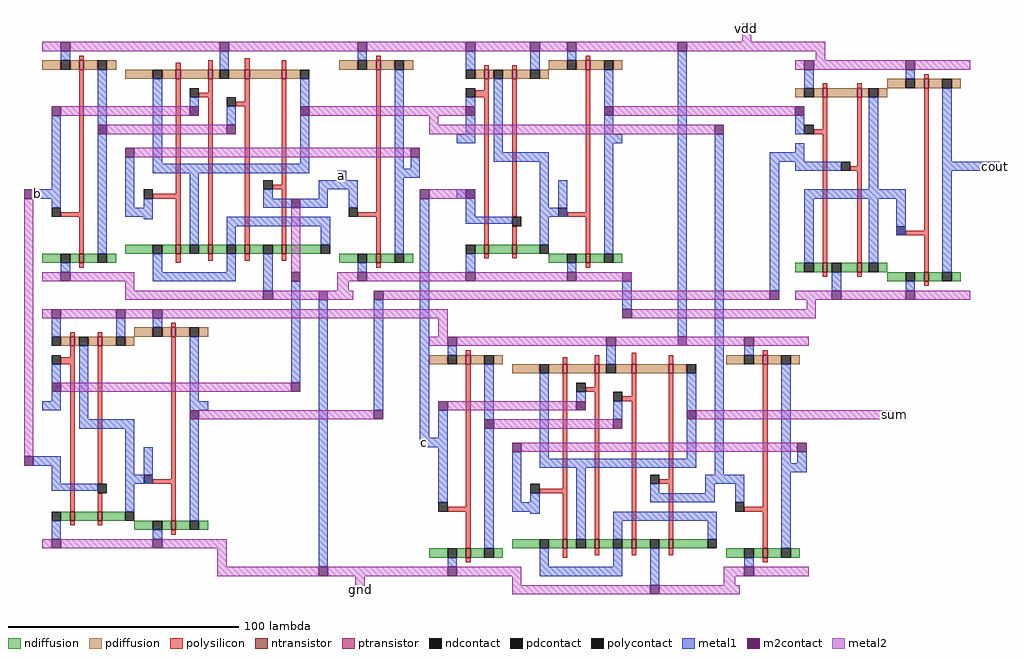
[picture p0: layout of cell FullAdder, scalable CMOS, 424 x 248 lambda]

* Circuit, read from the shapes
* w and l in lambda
.subckt FullAdder a b c cout gnd sum vdd
M1 n1 a gnd VSUBS nfet w=4 l=2
M2 EXC_0/not_0/o b gnd VSUBS nfet w=4 l=2
M3 and_0/not_0/i b n1 VSUBS nfet w=4 l=2
M4 and_0/o and_0/not_0/i gnd VSUBS nfet w=4 l=2
M5 and_1/a EXC_0/not_1/o n2 VSUBS nfet w=4 l=2
M6 n2 b and_1/a VSUBS nfet w=4 l=2
M7 gnd EXC_0/not_0/o n2 VSUBS nfet w=4 l=2
M8 n2 a gnd VSUBS nfet w=4 l=2
M9 EXC_0/not_1/o a gnd VSUBS nfet w=4 l=2
M10 EXC_1/not_0/o c gnd VSUBS nfet w=4 l=2
M11 n3 and_1/a gnd VSUBS nfet w=4 l=2
M12 and_1/not_0/i c n3 VSUBS nfet w=4 l=2
M13 sum EXC_1/not_1/o n4 VSUBS nfet w=4 l=2
M14 and_1/o and_1/not_0/i gnd VSUBS nfet w=4 l=2
M15 n4 c sum VSUBS nfet w=4 l=2
M16 gnd EXC_1/not_0/o n4 VSUBS nfet w=4 l=2
M17 n4 and_1/a gnd VSUBS nfet w=4 l=2
M18 EXC_1/not_1/o and_1/a gnd VSUBS nfet w=4 l=2
M19 gnd and_1/o or_0/not_0/i VSUBS nfet w=4 l=2
M20 or_0/not_0/i and_0/o gnd VSUBS nfet w=4 l=2
M21 cout or_0/not_0/i gnd VSUBS nfet w=4 l=2
M22 and_0/not_0/i a vdd NWELL pfet w=4 l=2
M23 EXC_0/not_0/o b vdd NWELL pfet w=4 l=2
M24 vdd b and_0/not_0/i NWELL pfet w=4 l=2
M25 and_0/o and_0/not_0/i vdd NWELL pfet w=4 l=2
M26 n5 EXC_0/not_1/o and_1/a NWELL pfet w=4 l=2
M27 vdd b n5 NWELL pfet w=4 l=2
M28 n6 EXC_0/not_0/o vdd NWELL pfet w=4 l=2
M29 and_1/a a n6 NWELL pfet w=4 l=2
M30 EXC_0/not_1/o a vdd NWELL pfet w=4 l=2
M31 EXC_1/not_0/o c vdd NWELL pfet w=4 l=2
M32 and_1/not_0/i and_1/a vdd NWELL pfet w=4 l=2
M33 vdd c and_1/not_0/i NWELL pfet w=4 l=2
M34 n7 EXC_1/not_1/o sum NWELL pfet w=4 l=2
M35 and_1/o and_1/not_0/i vdd NWELL pfet w=4 l=2
M36 vdd c n7 NWELL pfet w=4 l=2
M37 n8 EXC_1/not_0/o vdd NWELL pfet w=4 l=2
M38 sum and_1/a n8 NWELL pfet w=4 l=2
M39 EXC_1/not_1/o and_1/a vdd NWELL pfet w=4 l=2
M40 n9 and_1/o vdd NWELL pfet w=4 l=2
M41 or_0/not_0/i and_0/o n9 NWELL pfet w=4 l=2
M42 cout or_0/not_0/i vdd NWELL pfet w=4 l=2
.ends

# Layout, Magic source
magic
tech scmos
<< metal1 >>
rect 124 52 128 56
rect -8 44 0 48
rect 104 -36 108 8
rect -8 -72 0 -68
rect 116 -116 120 0
rect 140 -48 144 0
rect 160 -60 164 44
rect 248 -4 252 8
rect 272 -16 276 108
rect 160 -64 168 -60
rect 288 -76 292 72
rect 312 60 323 64
rect 312 4 316 60
rect 391 56 412 60
<< metal2 >>
rect 300 112 304 120
rect 161 108 180 112
rect 252 108 272 112
rect 276 108 336 112
rect 332 104 336 108
rect 112 80 180 84
rect 244 80 323 84
rect 164 76 168 80
rect 164 72 288 76
rect 164 44 180 48
rect -12 -68 -8 44
rect 104 12 108 40
rect 161 8 180 12
rect 144 0 312 4
rect 328 -4 332 0
rect 72 -8 172 -4
rect 252 -8 332 -4
rect 168 -16 172 -8
rect 4 -40 104 -36
rect 64 -52 140 -48
rect 280 -52 368 -48
rect 72 -116 76 -104
rect 72 -120 116 -116
rect 120 -120 168 -116
rect 132 -128 136 -120
<< m2contact >>
rect 272 108 276 112
rect 108 80 112 84
rect 180 80 184 84
rect 240 80 244 84
rect -12 44 -8 48
rect 160 44 164 48
rect 180 44 184 48
rect 104 40 108 44
rect 104 8 108 12
rect 0 -40 4 -36
rect 104 -40 108 -36
rect 116 0 120 4
rect 60 -52 64 -48
rect -12 -72 -8 -68
rect 140 0 144 4
rect 140 -52 144 -48
rect 248 8 252 12
rect 248 -8 252 -4
rect 323 80 327 84
rect 272 -20 276 -16
rect 288 72 292 76
rect 276 -52 280 -48
rect 312 0 316 4
rect 116 -120 120 -116
use EXC  EXC_0
transform 1 0 32 0 1 0
box -32 0 129 112
use EXC  EXC_1
transform 1 0 200 0 1 -128
box -32 0 129 112
use and  and_0
transform 1 0 0 0 1 -108
box 0 0 72 104
use and  and_1
transform 1 0 180 0 1 8
box 0 0 72 104
use or  or_0
transform 1 0 323 0 1 0
box 0 0 76 104
<< labels >>
rlabel metal1 410 58 410 58 7 cout
rlabel metal1 -6 46 -6 46 1 b
rlabel metal1 126 54 126 54 1 a
rlabel metal2 366 -50 366 -50 1 sum
rlabel metal2 302 118 302 118 5 vdd
rlabel metal2 134 -126 134 -126 1 gnd
rlabel metal1 162 -62 162 -62 1 c
<< end >>

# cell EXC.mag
magic
tech scmos
<< metal1 >>
rect -32 48 -28 80
rect 44 76 48 80
rect 0 40 4 62
rect 124 57 128 62
rect 121 53 128 57
rect 84 48 101 52
rect 84 44 88 48
rect 64 43 88 44
rect 60 40 88 43
rect 0 36 8 40
<< metal2 >>
rect -28 80 28 84
rect -8 72 44 76
rect 4 62 124 66
rect 0 4 4 12
rect 92 4 97 12
<< m2contact >>
rect -32 80 -28 84
rect 28 80 32 84
rect -12 72 -8 76
rect 44 72 48 76
rect 0 62 4 66
rect 124 62 128 66
use not  not_0
transform 1 0 -40 0 1 8
box 8 0 40 104
use not  not_1
transform 1 0 89 0 1 8
box 8 0 40 104
use xor  xor_0
transform 1 0 36 0 1 8
box -36 -8 63 104
<< end >>

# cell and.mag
magic
tech scmos
<< metal1 >>
rect -4 60 0 64
rect 64 60 68 64
rect -4 36 0 40
rect 36 28 44 32
<< metal2 >>
rect -4 100 0 104
rect -4 0 0 4
use nand  nand_0
transform 1 0 -4 0 1 0
box 4 0 44 104
use not  not_0
transform 1 0 32 0 1 0
box 8 0 40 104
<< labels >>
rlabel metal2 -2 102 -2 102 4 vdd
rlabel metal1 -2 62 -2 62 3 a
rlabel metal2 -2 2 -2 2 2 gnd
rlabel metal1 66 62 66 62 1 o
rlabel metal1 -2 38 -2 38 3 b
<< end >>

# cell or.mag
magic
tech scmos
<< metal1 >>
rect 40 44 48 48
rect 44 28 48 44
use nor  nor_0
transform 1 0 0 0 1 0
box 0 0 44 104
use not  not_0
transform 1 0 36 0 1 0
box 8 0 40 104
<< end >>

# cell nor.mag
magic
tech scmos
<< polysilicon >>
rect 12 92 14 94
rect 27 92 29 94
rect 12 74 14 88
rect 8 72 14 74
rect 12 16 14 72
rect 27 58 29 88
rect 24 56 29 58
rect 27 16 29 56
rect 12 10 14 12
rect 27 10 29 12
<< ndiffusion >>
rect 0 12 4 16
rect 8 12 12 16
rect 14 12 16 16
rect 20 12 27 16
rect 29 12 32 16
rect 36 12 40 16
<< pdiffusion >>
rect 0 88 4 92
rect 8 88 12 92
rect 14 88 27 92
rect 29 88 32 92
rect 36 88 40 92
<< metal1 >>
rect 4 92 8 100
rect 0 72 4 84
rect 0 60 4 68
rect 0 56 20 60
rect 32 48 36 88
rect 4 44 44 48
rect 4 16 8 44
rect 32 16 36 44
rect 16 4 20 12
<< metal2 >>
rect 0 100 4 104
rect 8 100 44 104
rect 0 0 16 4
rect 20 0 44 4
<< ntransistor >>
rect 12 12 14 16
rect 27 12 29 16
<< ptransistor >>
rect 12 88 14 92
rect 27 88 29 92
<< polycontact >>
rect 4 72 8 76
rect 20 56 24 60
<< ndcontact >>
rect 4 12 8 16
rect 16 12 20 16
rect 32 12 36 16
<< pdcontact >>
rect 4 88 8 92
rect 32 88 36 92
<< m2contact >>
rect 4 100 8 104
rect 16 0 20 4
<< labels >>
rlabel metal2 2 102 2 102 4 vdd
rlabel metal1 2 82 2 82 3 a
rlabel metal1 2 66 2 66 3 b
rlabel metal1 42 46 42 46 7 o
rlabel metal2 2 2 2 2 2 gnd
<< end >>

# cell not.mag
magic
tech scmos
<< polysilicon >>
rect 20 96 22 98
rect 20 30 22 92
rect 12 28 22 30
rect 20 12 22 28
rect 20 6 22 8
<< ndiffusion >>
rect 4 8 12 12
rect 16 8 20 12
rect 22 8 28 12
rect 32 8 36 12
<< pdiffusion >>
rect 4 92 12 96
rect 16 92 20 96
rect 22 92 28 96
rect 32 92 36 96
<< metal1 >>
rect 12 96 16 100
rect 8 32 12 44
rect 28 12 32 92
rect 12 4 16 8
<< metal2 >>
rect 4 100 12 104
rect 16 100 40 104
rect 4 0 12 4
rect 16 0 40 4
<< ntransistor >>
rect 20 8 22 12
<< ptransistor >>
rect 20 92 22 96
<< polycontact >>
rect 8 28 12 32
<< ndcontact >>
rect 12 8 16 12
rect 28 8 32 12
<< pdcontact >>
rect 12 92 16 96
rect 28 92 32 96
<< m2contact >>
rect 12 100 16 104
rect 12 0 16 4
<< labels >>
rlabel metal2 6 2 6 2 2 gnd
rlabel metal2 6 102 6 102 4 vdd
rlabel polysilicon 21 64 21 64 1 i
rlabel metal1 30 63 30 63 1 o
<< end >>

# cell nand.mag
magic
tech scmos
<< polysilicon >>
rect 12 92 14 94
rect 24 92 26 94
rect 12 83 14 88
rect 8 80 14 83
rect 12 16 14 80
rect 24 28 26 88
rect 24 16 26 24
rect 12 10 14 12
rect 24 10 26 12
<< ndiffusion >>
rect 8 12 12 16
rect 14 12 24 16
rect 26 12 36 16
<< pdiffusion >>
rect 8 88 12 92
rect 14 88 16 92
rect 20 88 24 92
rect 26 88 32 92
rect 36 88 40 92
<< metal1 >>
rect 4 92 8 100
rect 32 92 36 100
rect 4 60 8 80
rect 16 56 20 88
rect 16 52 40 56
rect 4 28 8 40
rect 4 25 24 28
rect 36 16 40 52
rect 4 4 8 12
<< metal2 >>
rect 8 100 32 104
rect 36 100 44 104
rect 8 0 44 4
<< ntransistor >>
rect 12 12 14 16
rect 24 12 26 16
<< ptransistor >>
rect 12 88 14 92
rect 24 88 26 92
<< polycontact >>
rect 4 80 8 84
rect 24 24 28 28
<< ndcontact >>
rect 4 12 8 16
rect 36 12 40 16
<< pdcontact >>
rect 4 88 8 92
rect 16 88 20 92
rect 32 88 36 92
<< m2contact >>
rect 4 100 8 104
rect 32 100 36 104
rect 4 0 8 4
<< end >>

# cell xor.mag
magic
tech scmos
<< polysilicon >>
rect -14 92 -12 95
rect 0 92 2 96
rect 16 92 18 97
rect 32 92 34 96
rect -14 38 -12 88
rect 0 82 2 88
rect -4 80 2 82
rect -24 36 -12 38
rect -14 16 -12 36
rect 0 16 2 80
rect 16 78 18 88
rect 12 76 18 78
rect 16 16 18 76
rect 32 42 34 88
rect 28 40 34 42
rect 32 16 34 40
rect -14 8 -12 12
rect 0 9 2 12
rect 16 9 18 12
rect 32 9 34 12
<< ndiffusion >>
rect -36 12 -24 16
rect -20 12 -14 16
rect -12 12 -8 16
rect -4 12 0 16
rect 2 12 8 16
rect 12 12 16 16
rect 18 12 24 16
rect 28 12 32 16
rect 34 12 49 16
<< pdiffusion >>
rect -36 88 -24 92
rect -20 88 -14 92
rect -12 88 0 92
rect 2 88 5 92
rect 9 88 16 92
rect 18 88 32 92
rect 34 88 40 92
<< metal1 >>
rect 5 92 9 100
rect -24 51 -20 88
rect -8 72 -4 80
rect 8 72 12 76
rect 40 51 44 88
rect -24 47 44 51
rect -28 27 -24 36
rect -8 16 -4 47
rect 24 35 28 40
rect 8 24 53 28
rect 8 16 12 24
rect 49 16 53 24
rect -24 4 -20 12
rect 8 4 12 12
rect -24 0 12 4
rect 24 -4 28 12
<< metal2 >>
rect -36 100 5 104
rect 9 100 61 104
rect -36 -8 24 -4
rect 28 -8 63 -4
<< ntransistor >>
rect -14 12 -12 16
rect 0 12 2 16
rect 16 12 18 16
rect 32 12 34 16
<< ptransistor >>
rect -14 88 -12 92
rect 0 88 2 92
rect 16 88 18 92
rect 32 88 34 92
<< polycontact >>
rect -28 36 -24 40
rect -8 80 -4 84
rect 8 76 12 80
rect 24 40 28 44
<< ndcontact >>
rect -24 12 -20 16
rect -8 12 -4 16
rect 8 12 12 16
rect 24 12 28 16
rect 49 12 53 16
<< pdcontact >>
rect -24 88 -20 92
rect 5 88 9 92
rect 40 88 44 92
<< m2contact >>
rect 5 100 9 104
rect 24 -8 28 -4
<< end >>
